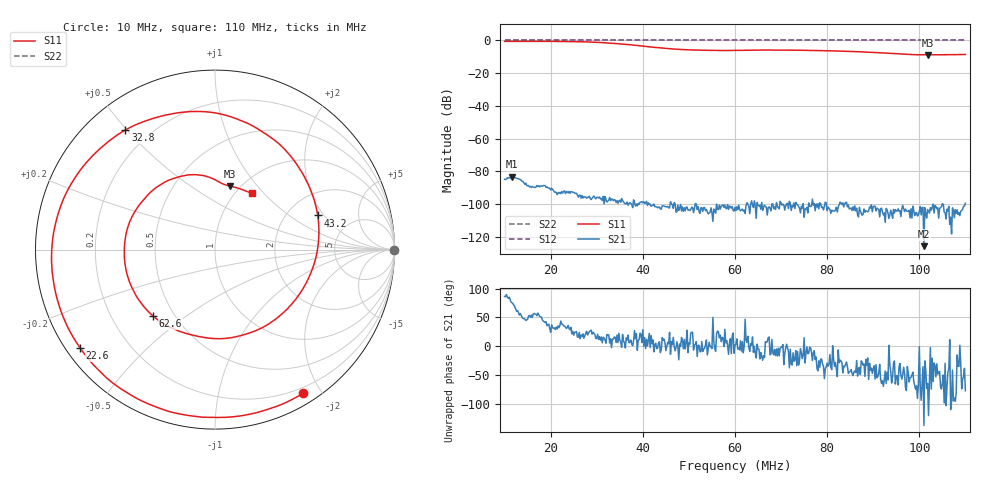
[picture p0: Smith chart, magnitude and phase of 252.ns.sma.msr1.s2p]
! Anritsu VNA Master:  Model: MS2036C/10/77
! SN:  1601066
! /card0/usr/ns.msr1.s2p
! Existing Calibration Information:
! TYPE:  Current Settings,  Active Cal Settings
! TIME:  12/21/2017 05:04:41 PM,  12/21/2017 04:46:01 PM
! INTERNAL TEMP:  40.5 C,  41.5 C
! # POINTS:  501,  501
! START FREQ:  10.000 MHz,  10.000 MHz
! STOP FREQ:  110.000 MHz,  110.000 MHz
! SOURCE POWER:  High,  High
! IFBW:  100 Hz,  100 Hz
! AVG FACTOR:  1 ,  1
! REF PLANE 1:  0 mm,  0 mm
! REF PLANE 2:  0 mm,  0 mm
! CAL TYPE:  Full S11,  Full S11
! CAL METHOD:  SOLT,  SOLT
! CAL LINE TYPE:  Coax,  Coax
! DUT PORT 1:  K-Conn(F),  K-Conn(F)
! DUT PORT 2:  K-Conn(F),  K-Conn(F)
! CAL STATUS:  OK: Accuracy High,  --
# GHZ S DB R 50.0
! FREQ.GHZ  S11DB  S11A  S21DB  S21A  S12DB  S12A  S22DB  S22A
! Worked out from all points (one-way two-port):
!   501 points, 10 MHz to 110 MHz, reference 50 ohm
!   highest |S21| = -83.29 dB at 11.6 MHz (marker M1); lowest = -125.8 dB at 101 MHz (marker M2)
!   lowest |S11| = -8.8 dB at 101.8 MHz (marker M3), VSWR 2.14, Z = 44.9 + j36.5 ohm
!   |S11| at or under -10 dB: nowhere
!   |S22| runs from 0.0 to 0.0 dB; largest |S21 - S12| = 1
!   S11 on the Smith chart (normalised r, x): 10 MHz: 0.13, -1.78; 22.6 MHz: 0.04, -0.33; 32.8 MHz: 0.11, +0.50; 43.2 MHz: 2.90, +1.74; 62.6 MHz: 0.38, -0.38; 110 MHz: 1.18, +0.85
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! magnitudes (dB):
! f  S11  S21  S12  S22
! 10 MHz  -0.5  -85.0  0.0  0.0
! 11.6 MHz  -0.6  -83.3  0.0  0.0
! 22.6 MHz  -0.6  -93.3  0.0  0.0
! 26.8 MHz  -0.8  -94.8  0.0  0.0
! 29.4 MHz  -1.0  -95.2  0.0  0.0
! 32.8 MHz  -1.6  -96.0  0.0  0.0
! 36.6 MHz  -2.4  -98.8  0.0  0.0
! 43.2 MHz  -4.4  -102.3  0.0  0.0
! 43.4 MHz  -4.4  -101.9  0.0  0.0
! 46.8 MHz  -5.3  -99.2  0.0  0.0
! 50.2 MHz  -5.8  -104.1  0.0  0.0
! 56.8 MHz  -6.1  -103.1  0.0  0.0
! 60 MHz  -6.1  -102.1  0.0  0.0
! 62.6 MHz  -5.9  -99.2  0.0  0.0
! 69 MHz  -5.9  -99.2  0.0  0.0
! 76.8 MHz  -6.1  -97.0  0.0  0.0
! 84.8 MHz  -6.7  -103.0  0.0  0.0
! 93.4 MHz  -7.9  -109.0  0.0  0.0
! 98 MHz  -8.6  -108.5  0.0  0.0
! 101 MHz  -8.8  -125.8  0.0  0.0
! 101.8 MHz  -8.8  -103.4  0.0  0.0
! 110 MHz  -8.6  -99.5  0.0  0.0
